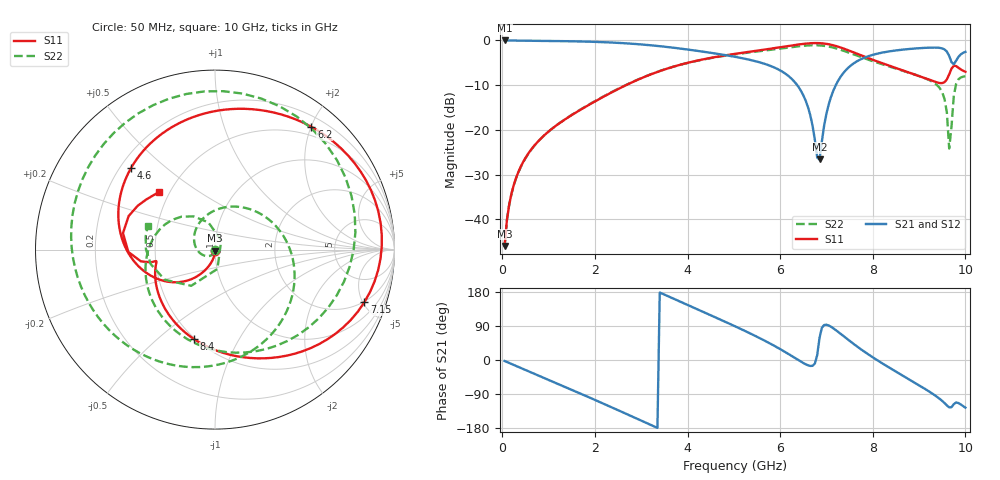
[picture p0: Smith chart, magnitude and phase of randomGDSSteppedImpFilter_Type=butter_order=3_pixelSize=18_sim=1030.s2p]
! freq	dB(S11)	phase(S11)	dB(S12)	phase(S12)
!  dB(S21)	phase(S21)	dB(S22)	phase(S22)
!S-par simulation data
#  GHz  S  DB  R 50
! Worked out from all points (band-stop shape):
!   200 points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, 50 MHz to 10 GHz, reference 50 ohm
!   highest |S21| = -0.01 dB at 50 MHz (marker M1); lowest = -26.6 dB at 6.85 GHz (marker M2)
!   |S21| within 3 dB of the highest: start of sweep to 4.65 GHz; 8.081 GHz to 9.627 GHz (1.546 GHz wide, 17.5 % of centre) (the widest 2 of 3)
!   lowest |S11| = -46.0 dB at 50 MHz (marker M3), VSWR 1.01, Z = 50 - j0.502 ohm
!   |S11| at or under -10 dB: start of sweep to 2.673 GHz
!   |S22| runs from -46.0 to -1.1 dB; largest |S21 - S12| = 0
!   S11 on the Smith chart (normalised r, x): 50 MHz: 1.00, -0.01; 4.6 GHz: 0.24, +0.38; 6.2 GHz: 0.36, +2.01; 7.15 GHz: 1.94, -5.14; 8.4 GHz: 0.49, -0.67; 10 GHz: 0.44, +0.35
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0.05  -45.98 -87.6  -0.01 -2.7  -0.01 -2.7  -46.03 -91.1
0.2  -34.19 -93.4  -0.02 -10.5  -0.02 -10.5  -34.26 -106.1
0.45  -27.21 -99.5  -0.04 -23.5  -0.04 -23.5  -27.27 -128.2
1.75  -15.13 -123.3  -0.24 -91.9  -0.24 -91.9  -15.08 117.6
2.65  -10.11 -144.8  -0.63 -140.7  -0.63 -140.7  -10.07 41.9
3.4  -6.86 -171.4  -1.29 178.1  -1.29 178.1  -6.85 -13.6
4.6  -3.72 135.9  -2.92 112.6  -2.92 112.6  -3.78 -91.4
5.05  -2.96 114.3  -3.71 87.6  -3.71 87.6  -3.07 -119.7
5.75  -1.92 78.1  -5.54 45.6  -5.54 45.6  -2.15 -168.5
6.2  -1.21 51.8  -8.13 14.4  -8.13 14.4  -1.56 152.1
6.7  -0.60 16.9  -19.08 -15.3  -19.08 -15.3  -1.08 93.8
6.85  -0.60 5.0  -26.63 58.3  -26.63 58.3  -1.11 73.0
7.15  -1.09 -19.4  -11.20 83.5  -11.20 83.5  -1.61 28.8
7.7  -3.14 -59.3  -4.43 32.2  -4.43 32.2  -3.56 -45.8
8.35  -5.63 -100.0  -2.46 -19.7  -2.46 -19.7  -5.81 -111.6
8.4  -5.81 -103.1  -2.38 -23.4  -2.38 -23.4  -5.97 -115.9
9  -7.99 -142.6  -1.74 -66.7  -1.74 -66.7  -7.96 -165.6
9.45  -9.54 -168.1  -1.67 -103.0  -1.67 -103.0  -10.72 145.4
9.6  -8.72 -168.8  -2.50 -119.8  -2.50 -119.8  -16.14 103.6
9.65  -7.59 -170.9  -3.45 -124.9  -3.45 -124.9  -24.18 55.8
9.8  -5.74 158.8  -4.54 -112.1  -4.54 -112.1  -9.72 -149.1
10  -7.00 134.1  -2.56 -125.8  -2.56 -125.8  -8.02 160.5
